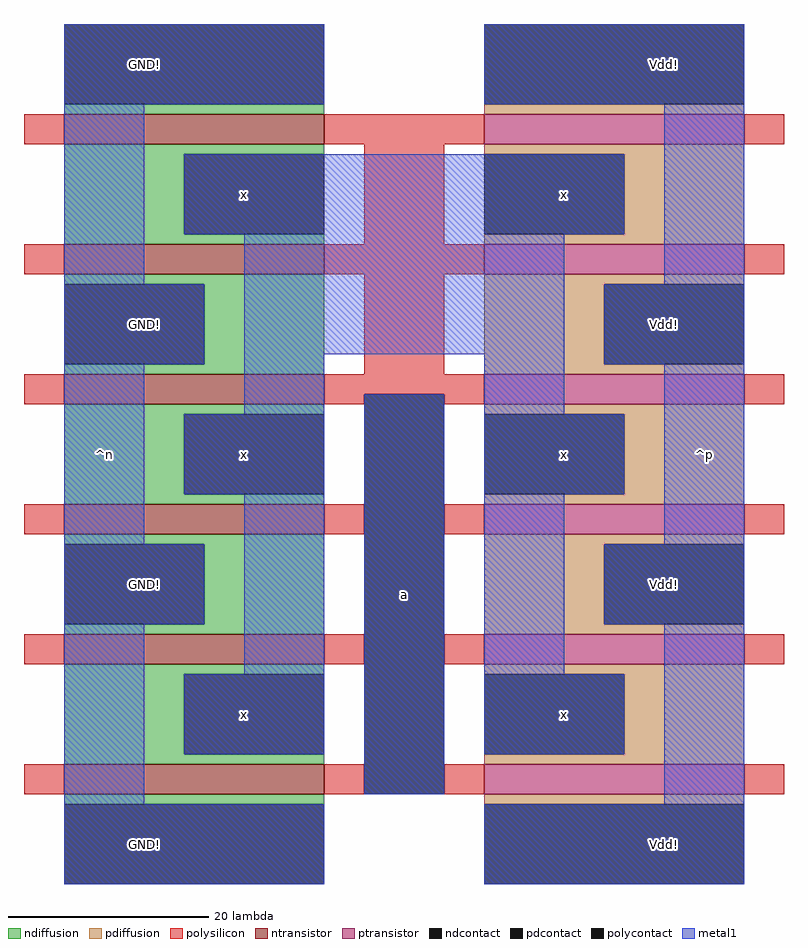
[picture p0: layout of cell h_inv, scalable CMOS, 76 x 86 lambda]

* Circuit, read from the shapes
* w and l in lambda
.subckt h_inv GND! Vdd! a x
M1 x a GND! VSUBS nfet w=26 l=3 m=6
M2 x a Vdd! NWELL pfet w=26 l=3 m=6
.ends

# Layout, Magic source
magic
tech scmos
<< ndiffusion >>
rect 57 77 83 78
rect 57 73 83 74
rect 57 65 69 73
rect 57 64 83 65
rect 57 60 83 61
rect 71 52 83 60
rect 57 51 83 52
rect 57 47 83 48
rect 57 39 69 47
rect 57 38 83 39
rect 57 34 83 35
rect 71 26 83 34
rect 57 25 83 26
rect 57 21 83 22
rect 57 13 69 21
rect 57 12 83 13
rect 57 8 83 9
<< pdiffusion >>
rect 99 77 125 78
rect 99 73 125 74
rect 113 65 125 73
rect 99 64 125 65
rect 99 60 125 61
rect 99 52 111 60
rect 99 51 125 52
rect 99 47 125 48
rect 113 39 125 47
rect 99 38 125 39
rect 99 34 125 35
rect 99 26 111 34
rect 99 25 125 26
rect 99 21 125 22
rect 113 13 125 21
rect 99 12 125 13
rect 99 8 125 9
<< ntransistor >>
rect 57 74 83 77
rect 57 61 83 64
rect 57 48 83 51
rect 57 35 83 38
rect 57 22 83 25
rect 57 9 83 12
<< ptransistor >>
rect 99 74 125 77
rect 99 61 125 64
rect 99 48 125 51
rect 99 35 125 38
rect 99 22 125 25
rect 99 9 125 12
<< polysilicon >>
rect 53 74 57 77
rect 83 74 99 77
rect 125 74 129 77
rect 87 64 95 74
rect 53 61 57 64
rect 83 61 99 64
rect 125 61 129 64
rect 87 51 95 61
rect 53 48 57 51
rect 83 49 99 51
rect 83 48 87 49
rect 53 35 57 38
rect 83 35 87 38
rect 53 22 57 25
rect 83 22 87 25
rect 53 9 57 12
rect 83 9 87 12
rect 95 48 99 49
rect 125 48 129 51
rect 95 35 99 38
rect 125 35 129 38
rect 95 22 99 25
rect 125 22 129 25
rect 95 9 99 12
rect 125 9 129 12
<< ndcontact >>
rect 57 78 83 86
rect 69 65 83 73
rect 57 52 71 60
rect 69 39 83 47
rect 57 26 71 34
rect 69 13 83 21
rect 57 0 83 8
<< pdcontact >>
rect 99 78 125 86
rect 99 65 113 73
rect 111 52 125 60
rect 99 39 113 47
rect 111 26 125 34
rect 99 13 113 21
rect 99 0 125 8
<< polycontact >>
rect 87 9 95 49
<< metal1 >>
rect 57 78 83 86
rect 99 78 125 86
rect 57 60 65 78
rect 69 65 113 73
rect 57 52 71 60
rect 75 53 107 65
rect 117 60 125 78
rect 57 34 65 52
rect 75 47 83 53
rect 69 39 83 47
rect 57 26 71 34
rect 57 8 65 26
rect 75 21 83 39
rect 69 13 83 21
rect 87 9 95 49
rect 99 47 107 53
rect 111 52 125 60
rect 99 39 113 47
rect 99 21 107 39
rect 117 34 125 52
rect 111 26 125 34
rect 99 13 113 21
rect 117 8 125 26
rect 57 0 83 8
rect 99 0 125 8
<< labels >>
rlabel ndcontact 75 43 75 43 1 x
rlabel ndcontact 75 17 75 17 1 x
rlabel ndcontact 75 69 75 69 1 x
rlabel ndcontact 65 30 65 30 5 GND!
rlabel ndcontact 65 56 65 56 5 GND!
rlabel ndcontact 65 82 65 82 5 GND!
rlabel ndcontact 65 4 65 4 1 GND!
rlabel space 52 -1 70 87 7 ^n
rlabel pdcontact 107 43 107 43 1 x
rlabel pdcontact 107 17 107 17 1 x
rlabel pdcontact 107 69 107 69 1 x
rlabel pdcontact 117 4 117 4 1 Vdd!
rlabel pdcontact 117 30 117 30 5 Vdd!
rlabel pdcontact 117 56 117 56 5 Vdd!
rlabel pdcontact 117 82 117 82 5 Vdd!
rlabel space 112 -1 130 87 3 ^p
rlabel metal1 91 29 91 29 1 a
<< end >>
